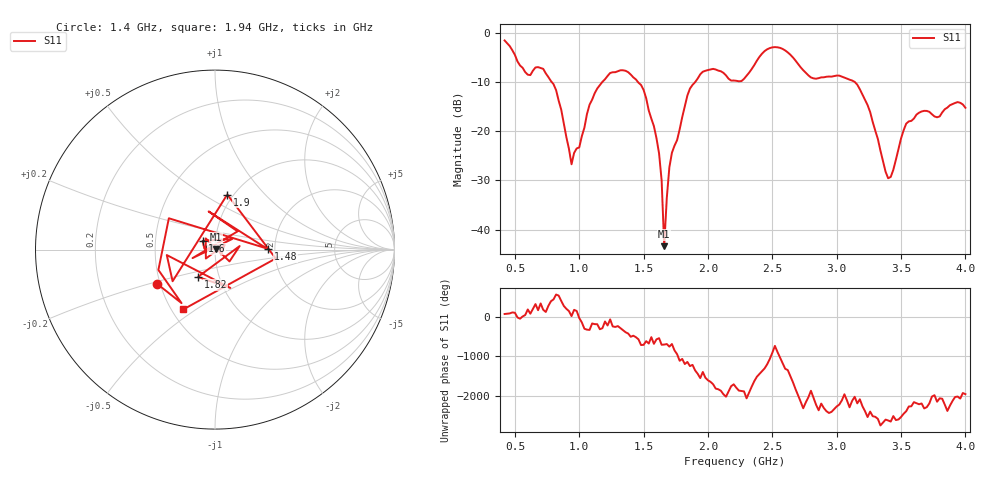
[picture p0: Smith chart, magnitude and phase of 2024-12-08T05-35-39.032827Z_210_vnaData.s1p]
!Created with skrf (http://scikit-rf.org).
# Hz S RI R 50.0
!freq ReS11 ImS11
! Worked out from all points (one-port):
!   180 points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, 420 MHz to 4 GHz, reference 50 ohm
!   lowest |S11| = -43.4 dB at 1.66 GHz (marker M1), VSWR 1.01, Z = 50.7 + j0.148 ohm
!   |S11| at or under -10 dB: 785.4 MHz to 1.179 GHz (394.1 MHz wide, 40.1 % of centre); 1.455 GHz to 1.901 GHz (446 MHz wide, 26.6 % of centre); 3.14 GHz to end of sweep
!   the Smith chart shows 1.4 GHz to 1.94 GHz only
!   S11 on the Smith chart (normalised r, x): 1.4 GHz: 0.48, -0.21; 1.48 GHz: 1.84, +0.02; 1.6 GHz: 0.87, +0.08; 1.82 GHz: 0.79, -0.25; 1.9 GHz: 0.94, +0.64; 1.94 GHz: 0.57, -0.45
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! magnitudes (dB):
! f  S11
! 420 MHz  -1.6
! 600 MHz  -8.5
! 720 MHz  -7.3
! 820 MHz  -11.7
! 880 MHz  -18.5
! 940 MHz  -26.7
! 1.12 GHz  -12.3
! 1.32 GHz  -7.6
! 1.4 GHz  -8.5
! 1.48 GHz  -10.6
! 1.6 GHz  -21.4
! 1.64 GHz  -30.0
! 1.66 GHz  -43.4
! 1.68 GHz  -33.6
! 1.7 GHz  -27.4
! 1.78 GHz  -19.6
! 1.82 GHz  -14.9
! 1.9 GHz  -10.1
! 1.94 GHz  -8.5
! 2.22 GHz  -9.8
! 2.48 GHz  -3.1
! 2.66 GHz  -5.0
! 2.8 GHz  -9.1
! 3.12 GHz  -9.7
! 3.26 GHz  -16.1
! 3.4 GHz  -29.6
! 3.56 GHz  -18.0
! 4 GHz  -15.3
